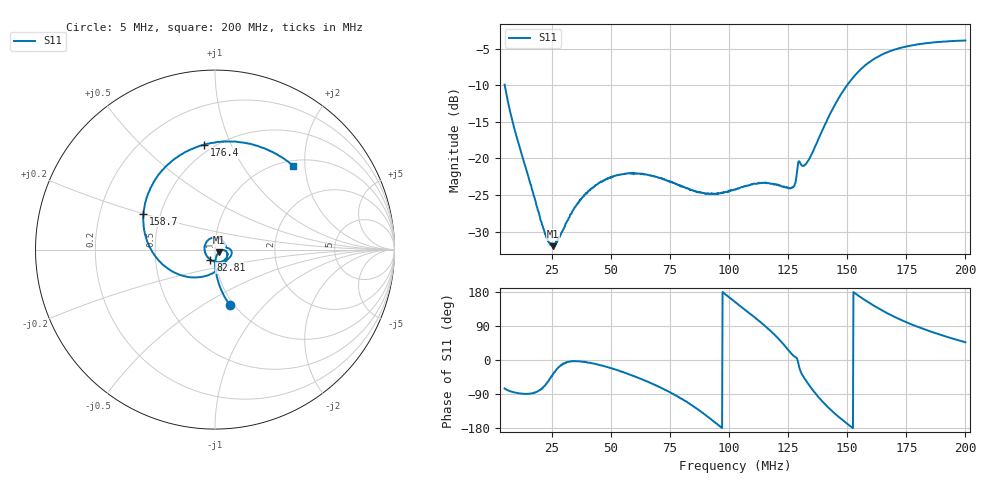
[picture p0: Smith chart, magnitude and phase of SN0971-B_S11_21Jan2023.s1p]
# Hz S DB R 50
! CMT, M5045, 22160017, 22.4.3/2
! Date: 1/21/2023 20:25:26
! Data: Format (Calibration Info)
! Freq	S11:dB/Ang(F1)
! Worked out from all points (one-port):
!   1001 points, 5 MHz to 200 MHz, reference 50 ohm
!   lowest |S11| = -32.0 dB at 25.48 MHz (marker M1), VSWR 1.05, Z = 52 - j1.56 ohm
!   |S11| at or under -10 dB: 5.044 MHz to 149.9 MHz (144.9 MHz wide, 187 % of centre)
!   S11 on the Smith chart (normalised r, x): 5 MHz: 0.96, -0.66; 82.81 MHz: 0.94, -0.11; 158.7 MHz: 0.40, +0.20; 176.4 MHz: 0.45, +0.79; 200 MHz: 1.11, +1.74
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5000000  -9.92 -75.0
1.085e7  -17.89 -87.7
2.1185e7  -29.28 -73.6
2.3525e7  -31.37 -55.3
2.5475e7  -31.99 -36.6
2.9375e7  -29.94 -11.2
3.464e7  -26.72 -3.3
3.9515e7  -24.73 -5.2
4.556e7  -23.24 -13.8
5.375e7  -22.23 -29.2
6.4085e7  -22.14 -53.6
7.8125e7  -23.62 -95.6
8.2805e7  -24.13 -114.0
9.353e7  -24.85 -162.2
1.025e8  -24.25 153.5
1.15565e8  -23.36 87.9
1.26875e8  -23.93 13.5
1.29605e8  -20.40 -17.1
1.3331e8  -20.39 -61.3
1.415e8  -14.76 -122.4
1.4618e8  -11.86 -149.1
1.5125e8  -9.45 -174.5
1.5866e8  -7.00 153.3
1.6724e8  -5.48 122.5
1.75625e8  -4.66 98.1
1.76405e8  -4.63 96.1
1.86935e8  -4.14 71.6
2e8  -3.90 46.8
